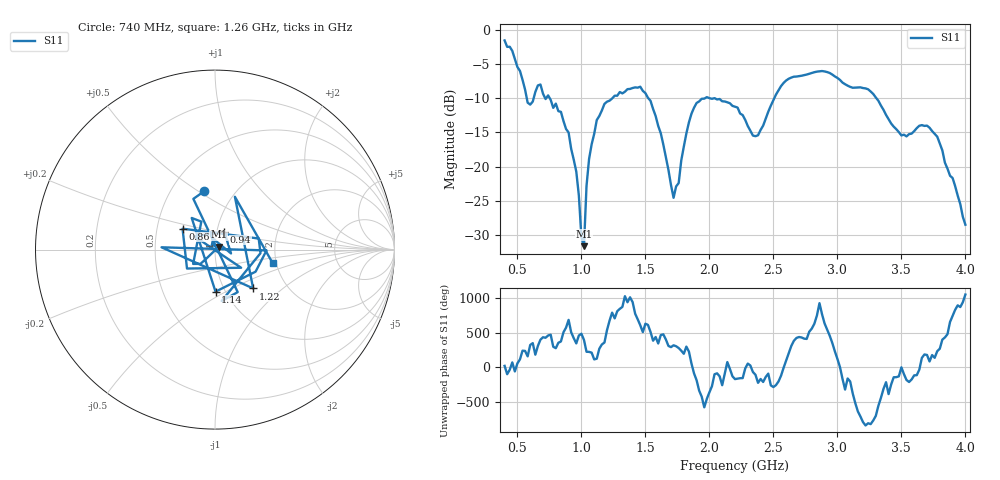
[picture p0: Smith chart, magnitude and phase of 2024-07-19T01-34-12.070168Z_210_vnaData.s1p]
!Created with skrf (http://scikit-rf.org).
# Hz S RI R 50.0
!freq ReS11 ImS11
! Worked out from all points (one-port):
!   181 points, 400 MHz to 4 GHz, reference 50 ohm
!   lowest |S11| = -31.6 dB at 1.02 GHz (marker M1), VSWR 1.05, Z = 52.1 + j1.66 ohm
!   |S11| at or under -10 dB: 752.4 MHz to 1.242 GHz (490 MHz wide, 49.1 % of centre); 2.04 GHz to 2.507 GHz (466.9 MHz wide, 20.5 % of centre); 3.304 GHz to end of sweep (the widest 3 of 7)
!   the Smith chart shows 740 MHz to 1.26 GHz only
!   S11 on the Smith chart (normalised r, x): 740 MHz: 0.73, +0.53; 860 MHz: 0.68, +0.17; 940 MHz: 1.09, +0.22; 1.14 GHz: 0.90, -0.45; 1.22 GHz: 1.36, -0.65; 1.26 GHz: 1.91, -0.32
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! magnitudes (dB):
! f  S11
! 400 MHz  -1.6
! 580 MHz  -10.7
! 680 MHz  -8.0
! 740 MHz  -9.6
! 860 MHz  -13.3
! 940 MHz  -19.0
! 980 MHz  -24.2
! 1 GHz  -30.3
! 1.02 GHz  -31.6
! 1.04 GHz  -22.8
! 1.06 GHz  -18.9
! 1.14 GHz  -12.6
! 1.22 GHz  -10.4
! 1.26 GHz  -9.6
! 1.3 GHz  -9.1
! 1.54 GHz  -10.4
! 1.72 GHz  -24.6
! 1.76 GHz  -22.4
! 1.82 GHz  -15.2
! 1.9 GHz  -10.7
! 2.2 GHz  -11.3
! 2.38 GHz  -15.4
! 2.66 GHz  -6.9
! 3.1 GHz  -8.4
! 3.24 GHz  -8.7
! 3.56 GHz  -15.3
! 3.78 GHz  -15.6
! 4 GHz  -28.5
